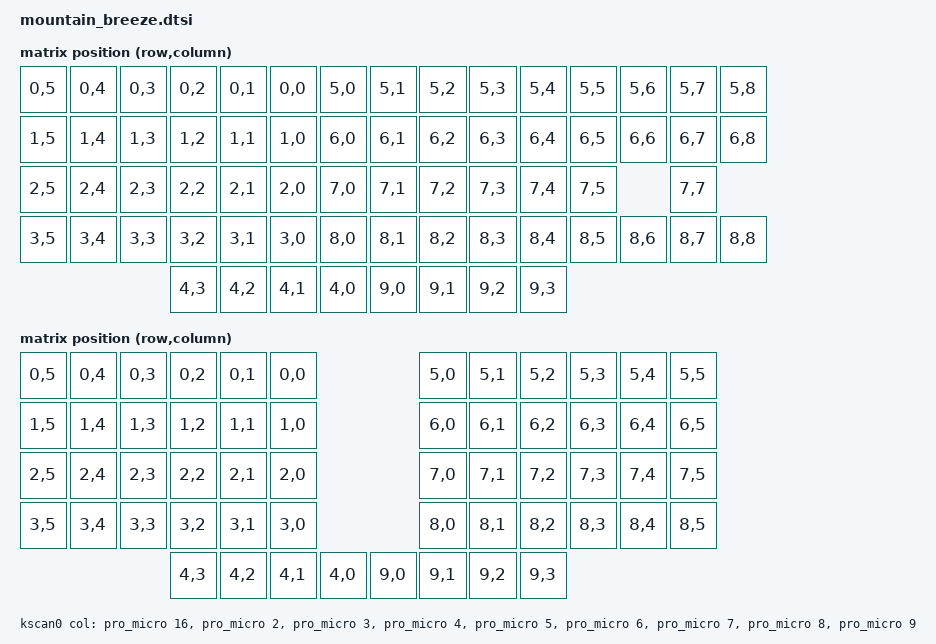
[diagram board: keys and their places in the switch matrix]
/*
 * Copyright (c) 2024 The ZMK Contributors
 *
 * SPDX-License-Identifier: MIT
 */

#include <dt-bindings/zmk/matrix_transform.h>

/ {
	chosen {
		zmk,kscan = &kscan0;
		zmk,matrix_transform = &default_transform;
		zmk,display = &oled;
	};

	default_transform: keymap_transform_0 {
		compatible = "zmk,matrix-transform";
		columns = <9>;
		rows = <10>;
// | SW6  | SW5  | SW4  | SW3  | SW2  | SW1  |                 | SW1  | SW2  | SW3  | SW4  | SW5  | SW6  | MC1  | MC2  | MC3  |
// | SW12 | SW11 | SW10 | SW9  | SW8  | SW7  |                 | SW7  | SW8  | SW9  | SW10 | SW11 | SW12 | MC4  | MC5  | MC6  |
// | SW18 | SW17 | SW16 | SW15 | SW14 | SW13 |                 | SW13 | SW14 | SW15 | SW16 | SW17 | SW18 |      |  ↑   |      |
// | SW24 | SW23 | SW22 | SW21 | SW20 | SW19 |                 | SW19 | SW20 | SW21 | SW22 | SW23 | SW24 |  ←   |  ↓   |  →   |
//                      | TC4  | TC3  | TC2  | TC1  |   | TC1  | TC2  | TC3  | TC4  |
		map = <
RC(0,5) RC(0,4) RC(0,3) RC(0,2) RC(0,1) RC(0,0)                 RC(5,0) RC(5,1) RC(5,2) RC(5,3) RC(5,4) RC(5,5) RC(5,6) RC(5,7) RC(5,8)
RC(1,5) RC(1,4) RC(1,3) RC(1,2) RC(1,1) RC(1,0)                 RC(6,0) RC(6,1) RC(6,2) RC(6,3) RC(6,4) RC(6,5) RC(6,6) RC(6,7) RC(6,8)
RC(2,5) RC(2,4) RC(2,3) RC(2,2) RC(2,1) RC(2,0)                 RC(7,0) RC(7,1) RC(7,2) RC(7,3) RC(7,4) RC(7,5)         RC(7,7)
RC(3,5) RC(3,4) RC(3,3) RC(3,2) RC(3,1) RC(3,0)                 RC(8,0) RC(8,1) RC(8,2) RC(8,3) RC(8,4) RC(8,5) RC(8,6) RC(8,7) RC(8,8)
                        RC(4,3) RC(4,2) RC(4,1) RC(4,0) RC(9,0) RC(9,1) RC(9,2) RC(9,3)
		>;
	};

	five_column_transform: keymap_transform_1 {
		compatible = "zmk,matrix-transform";
		columns = <6>;
		rows = <10>;
// | SW6  | SW5  | SW4  | SW3  | SW2  | SW1  |                 | SW1  | SW2  | SW3  | SW4  | SW5  | SW6  |
// | SW12 | SW11 | SW10 | SW9  | SW8  | SW7  |                 | SW7  | SW8  | SW9  | SW10 | SW11 | SW12 |
// | SW18 | SW17 | SW16 | SW15 | SW14 | SW13 |                 | SW13 | SW14 | SW15 | SW16 | SW17 | SW18 |
// | SW24 | SW23 | SW22 | SW21 | SW20 | SW19 |                 | SW19 | SW20 | SW21 | SW22 | SW23 | SW24 |
//                      | TC4  | TC3  | TC2  | TC1  |   | TC1  | TC2  | TC3  | TC4  |
		map = <
RC(0,5) RC(0,4) RC(0,3) RC(0,2) RC(0,1) RC(0,0)                 RC(5,0) RC(5,1) RC(5,2) RC(5,3) RC(5,4) RC(5,5)
RC(1,5) RC(1,4) RC(1,3) RC(1,2) RC(1,1) RC(1,0)                 RC(6,0) RC(6,1) RC(6,2) RC(6,3) RC(6,4) RC(6,5)
RC(2,5) RC(2,4) RC(2,3) RC(2,2) RC(2,1) RC(2,0)                 RC(7,0) RC(7,1) RC(7,2) RC(7,3) RC(7,4) RC(7,5)
RC(3,5) RC(3,4) RC(3,3) RC(3,2) RC(3,1) RC(3,0)                 RC(8,0) RC(8,1) RC(8,2) RC(8,3) RC(8,4) RC(8,5)
                        RC(4,3) RC(4,2) RC(4,1) RC(4,0) RC(9,0) RC(9,1) RC(9,2) RC(9,3)
		>;
	};

	kscan0: kscan {
		compatible = "zmk,kscan-gpio-matrix";
		diode-direction = "col2row";
		col-gpios
			= <&pro_micro 16 GPIO_ACTIVE_HIGH>
			, <&pro_micro 2  GPIO_ACTIVE_HIGH>
			, <&pro_micro 3  GPIO_ACTIVE_HIGH>
			, <&pro_micro 4  GPIO_ACTIVE_HIGH>
			, <&pro_micro 5  GPIO_ACTIVE_HIGH>
			, <&pro_micro 6  GPIO_ACTIVE_HIGH>
			, <&pro_micro 7  GPIO_ACTIVE_HIGH>
			, <&pro_micro 8  GPIO_ACTIVE_HIGH>
			, <&pro_micro 9  GPIO_ACTIVE_HIGH>
			;
	};

	pinctrl {
		spi0_default: spi0_default {
			group1 {
				psels = <NRF_PSEL(SPIM_SCK, 0, 6)>,
					<NRF_PSEL(SPIM_MOSI, 0, 8)>,
					<NRF_PSEL(SPIM_MISO, 0, 7)>;
			};
		};

		spi0_sleep: spi0_sleep {
			group1 {
				psels = <NRF_PSEL(SPIM_SCK, 0, 6)>,
					<NRF_PSEL(SPIM_MOSI, 0, 8)>,
					<NRF_PSEL(SPIM_MISO, 0, 7)>;
				low-power-enable;
			};
		};
	};

	oled: oled {
		compatible = "zmk,display-ssd1306";
		label = "OLED";
		width = <128>;
		height = <32>;
		address = <0x3C>;
		spi-dev = <&nice_view_spi>;
		cs-gpios = <&pro_micro 9 GPIO_ACTIVE_LOW>;
		dc-gpios = <&pro_micro 10 GPIO_ACTIVE_HIGH>;
		reset-gpios = <&pro_micro 11 GPIO_ACTIVE_LOW>;
	};

	nice_view_spi: spi0 {
		compatible = "nordic,nrf-spim";
		status = "okay";
		reg = <0x40003000 0x1000>;
		interrupts = <3 NRF_DEFAULT_IRQ_PRIORITY>;
		cs-gpios = <&pro_micro 9 GPIO_ACTIVE_LOW>; // D10 (P0.09)
		max-frequency = <8000000>; // 8MHz
		easydma-maxcnt-bits = <16>;
		pinctrl-0 = <&spi0_default>;
		pinctrl-1 = <&spi0_sleep>;
		pinctrl-names = "default", "sleep";
		#address-cells = <1>;
		#size-cells = <0>;
	};
}; 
